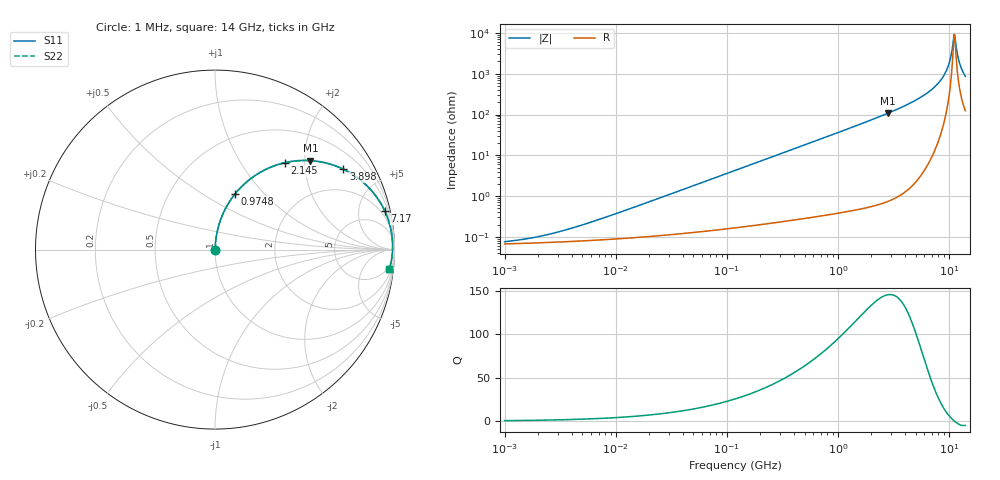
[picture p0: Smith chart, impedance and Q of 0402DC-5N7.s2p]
# MHz  S  MA  R  50
!Freq  MagS11  AngS11  MagS21  AngS21  MagS12  AngS12  MagS22  AngS22
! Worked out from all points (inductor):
!   801 points, 1 MHz to 14 GHz, reference 50 ohm
!   read as one part in series: L = 5.7 nH near 7.012 MHz
!   highest Q = 146 at 2.79 GHz (marker M1), where L = 6.08 nH
!   self-resonance near 11.02 GHz
!   S11 on the Smith chart (normalised r, x): 1 MHz: 1.00, +0.00; 974.8 MHz: 1.01, +0.70; 2.145 GHz: 1.01, +1.60; 3.898 GHz: 1.02, +3.18; 7.17 GHz: 1.21, +8.76; 14 GHz: 3, -17
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1  0.0007592 28.1  0.9993 -0.0  0.9993 -0.0  0.0007592 28.1
2.148335  0.001051 47.0  0.9993 -0.0  0.9993 -0.0  0.001051 47.0
4.958368  0.001943 65.8  0.9992 -0.1  0.9992 -0.1  0.001943 65.8
24.29341  0.008756 82.5  0.9989 -0.5  0.9989 -0.5  0.008756 82.5
119.025  0.04256 85.3  0.9974 -2.4  0.9974 -2.4  0.04256 85.3
583.1601  0.2044 77.4  0.976 -11.8  0.976 -11.8  0.2044 77.4
974.8076  0.3308 70.1  0.9402 -19.3  0.9402 -19.3  0.3308 70.1
2144.861  0.6214 51.2  0.779 -38.4  0.779 -38.4  0.6214 51.2
2789.711  0.7268 43.0  0.6819 -46.6  0.6819 -46.6  0.7268 43.0
2857.179  0.736 42.2  0.672 -47.4  0.672 -47.4  0.736 42.2
3898.109  0.8438 32.0  0.5304 -57.5  0.5304 -57.5  0.8438 32.0
5512.362  0.9303 20.9  0.356 -68.5  0.356 -68.5  0.9303 20.9
7169.648  0.9698 12.8  0.2215 -75.8  0.2215 -75.8  0.9698 12.8
8374.445  0.9831 8.2  0.1429 -79.1  0.1429 -79.1  0.9831 8.2
9325.195  0.9881 5.1  0.08919 -79.8  0.08919 -79.8  0.9881 5.1
10018.26  0.9897 3.0  0.05385 -77.4  0.05385 -77.4  0.9897 3.0
10762.84  0.9897 1.0  0.02023 -59.0  0.02023 -59.0  0.9897 1.0
11155.64  0.9892 -0.0  0.01077 1.2  0.01077 1.2  0.9892 -0.0
11562.76  0.9884 -1.0  0.02129 56.4  0.02129 56.4  0.9884 -1.0
12128.81  0.9866 -2.4  0.04335 70.9  0.04335 70.9  0.9866 -2.4
12571.45  0.9849 -3.4  0.06065 73.9  0.06065 73.9  0.9849 -3.4
14000  0.9775 -6.4  0.1132 75.3  0.1132 75.3  0.9775 -6.4
